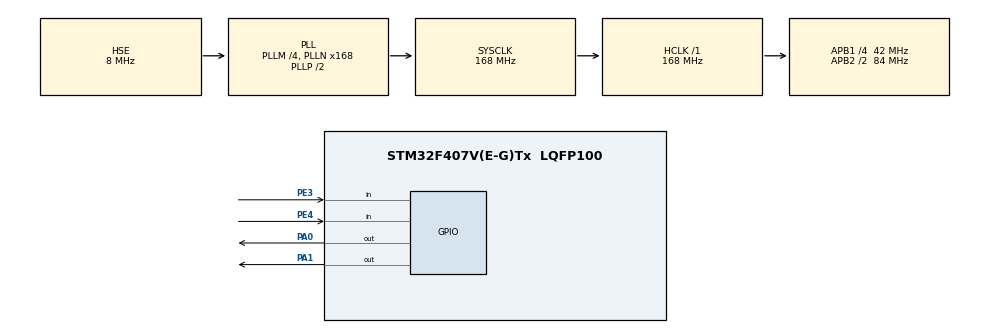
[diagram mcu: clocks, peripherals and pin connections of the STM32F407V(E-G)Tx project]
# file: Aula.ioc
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Mcu.Family=STM32F4
Mcu.Name=STM32F407V(E-G)Tx
Mcu.Package=LQFP100
NVIC.PriorityGroup=NVIC_PRIORITYGROUP_4
PA0-WKUP.Signal=GPIO_Output
PA1.Signal=GPIO_Output
PE3.GPIO_PuPd=GPIO_PULLUP
PE3.Signal=GPIO_Input
PE4.GPIO_PuPd=GPIO_PULLUP
PE4.Signal=GPIO_Input
PH0-OSC_IN.Mode=HSE-External-Oscillator
PH0-OSC_IN.Signal=RCC_OSC_IN
PH1-OSC_OUT.Mode=HSE-External-Oscillator
PH1-OSC_OUT.Signal=RCC_OSC_OUT
ProjectManager.HeapSize=0x200
ProjectManager.StackSize=0x400
ProjectManager.TargetToolchain=STM32CubeIDE
RCC.48MHZClocksFreq_Value=84000000
RCC.AHBFreq_Value=168000000
RCC.APB1CLKDivider=RCC_HCLK_DIV4
RCC.APB1Freq_Value=42000000
RCC.APB1TimFreq_Value=84000000
RCC.APB2CLKDivider=RCC_HCLK_DIV2
RCC.APB2Freq_Value=84000000
RCC.APB2TimFreq_Value=168000000
RCC.CortexFreq_Value=168000000
RCC.HCLKFreq_Value=168000000
RCC.HSE_VALUE=8000000
RCC.HSI_VALUE=16000000
RCC.LSE_VALUE=32768
RCC.PLLM=4
RCC.PLLN=168
RCC.PLLSourceVirtual=RCC_PLLSOURCE_HSE
RCC.SYSCLKFreq_VALUE=168000000
RCC.SYSCLKSource=RCC_SYSCLKSOURCE_PLLCLK
RCC.VCOOutputFreq_Value=336000000
board=custom

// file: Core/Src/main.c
/* USER CODE BEGIN Header */
/**
  ******************************************************************************
  * @file           : main.c
  * @brief          : Main program body
  ******************************************************************************
  * @attention
  *
  * Copyright (c) 2025 STMicroelectronics.
  * All rights reserved.
  *
  * This software is licensed under terms that can be found in the LICENSE file
  * in the root directory of this software component.
  * If no LICENSE file comes with this software, it is provided AS-IS.
  *
  ******************************************************************************
  */
/* USER CODE END Header */
#include "main.h"

/* USER CODE BEGIN Includes */

#include "Utility.h"
#include "LCD_Blio.h"
#include "audio_data.h"  // Arquivo gerado com os dados de voz
#include <stdio.h>
/* USER CODE END Includes */

void SystemClock_Config(void);
static void MX_GPIO_Init(void);
/* USER CODE BEGIN PFP */

// VARIÁVEIS GLOBAIS
uint16_t contador = 0;
float temperatura = 0;

uint16_t contadorBuzzer = 0;
int superaquecimento = 0;

void SinalSenoidal();
void WatchDogAnalogico();
void JoystickComServo();
void AmplificadorDeAudio();
void SensorDeTemperatura();

void Semaforo();
void InverterLedReg();
void Despertador(GPIO_TypeDef* porta, uint16_t pino);
void AtivarModoPWM(GPIO_TypeDef* porta, uint16_t pino, int velocidade);
void LedEBotao();
void LedEBotaoDec();
void AlternarLedBotao();
void LedBotaoContador();
void ContagemBinaria(int contador);

void DisplaySeteSegHexa();
void DisplaySeteSegHexa2D();
void Genius();
void SensorUltrassonico();
void MotorDC();
void MicroServomotor(int angulo, uint8_t pin);

/* USER CODE END PFP */

volatile uint32_t audio_index = 0;

void TIM3_IRQHandler(void)
{
    if (TIM3->SR & TIM_SR_UIF) // Verifica flag de atualização
    {
        TIM3->SR &= ~TIM_SR_UIF; // Limpa flag

        if (audio_index < audio_data_len)
        {
            DAC_SetValue(DAC_CHANNEL1, audio_data[audio_index++], DAC_RES_8BITS);
        }
        else
        {
            audio_index = 0; // Repetir
        }
    }
}

void Timer3_Init_48kHz(void)
{
    RCC->APB1ENR |= RCC_APB1ENR_TIM3EN; // Habilita clock do TIM3

    TIM3->PSC = 34;  // Prescaler (APB1 = 84 MHz / (34+1) = 2.4 MHz)
    TIM3->ARR = 49;  // 2.4 MHz / (49+1) = 48 kHz
    TIM3->DIER |= TIM_DIER_UIE; // Habilita interrupção de atualização
    TIM3->CR1 |= TIM_CR1_CEN;   // Liga o timer

    NVIC_EnableIRQ(TIM3_IRQn);  // Ativa interrupção no NVIC
    NVIC_SetPriority(TIM3_IRQn, 1);
}

int main(void)
{

  /* MCU Configuration--------------------------------------------------------*/

  /* Reset of all peripherals, Initializes the Flash interface and the Systick. */
  HAL_Init();

  /* Configure the system clock */
  SystemClock_Config();

  /* USER CODE BEGIN SysInit */

  // HAL_SYSTICK_Config(SystemCoreClock / 5);
  // HAL_SYSTICK_Config(SystemCoreClock / 5);

  /* USER CODE END SysInit */

  /* Initialize all configured peripherals */
  MX_GPIO_Init();
  /* USER CODE BEGIN 2 */

  Utility_Init();
  USART1_Init();

//  GPIO_Clock_Enable(GPIOA);

//	GPIO_Pin_Mode(GPIOA, PIN_4, ANALOG);
//	GPIO_Pin_Mode(GPIOA, PIN_5, ANALOG);
//
//	ADC_Init(ADC1, SINGLE_CHANNEL, DAC_RES_12BITS);
//	ADC_SingleChannel(ADC1, ADC_IN0);
//
//	DAC_Init(DAC_CHANNEL1);
//	DAC_Init(DAC_CHANNEL2);

//	DAC_Init1(DAC_CHANNEL2);

//	GPIO_Clock_Enable(GPIOE);
//
//	GPIO_Pin_Mode(GPIOE, PIN_3, INPUT);
//	GPIO_Pin_Mode(GPIOE, PIN_4, INPUT);
//
//	GPIO_Resistor_Enable(GPIOE, PIN_3, PULL_UP);
//	GPIO_Resistor_Enable(GPIOE, PIN_4, PULL_UP);
//
//	EXTI_Config(EXTI3, GPIOE, FALLING_EDGE);
//	EXTI_Config(EXTI4, GPIOE, FALLING_EDGE);
//
//	NVIC_EnableIRQ(EXTI3_IRQn);
//	NVIC_EnableIRQ(EXTI4_IRQn);
//
//	NVIC_SetPriority(EXTI3_IRQn, 0);
//	NVIC_SetPriority(EXTI4_IRQn, 1);

  /* USER CODE END 2 */

  /* Infinite loop */
  /* USER CODE BEGIN WHILE */

//	Utility_Init();
//	USART1_Init();
//	GPIO_Clock_Enable(GPIOA);
//	GPIO_Pin_Mode(GPIOA, PIN_6, OUTPUT);	// Led 1
//	GPIO_Pin_Mode(GPIOA, PIN_7, OUTPUT);	// Led 2
//	GPIO_Pin_Mode(GPIOA, PIN_0, OUTPUT);	// Buzzer
//
//	// ADC
//	RCC->APB2ENR |= 1 << 8; //liga o clock da interface digital do ADC1
//	ADC->CCR |= 0b01 << 16; //prescaler /4
//	ADC1->SQR1 &= ~(0xF << 20); //conversão de apenas um canal
//	ADC1->SQR3 |= 16; //seleção do canal a ser convertido (IN_16)
//	ADC1->SMPR1 |= (7 << 18); //tempo de amostragem igual a 480 ciclos de ADCCLK
//	ADC->CCR |= (1 << 23); //liga o sensor de temperatura
//	ADC1->CR2 |= 1; //liga o conversor AD

//	// Configurando TIMER 5
//	RCC->APB1ENR |= RCC_APB1ENR_TIM5EN;
//	TIM5->PSC = 8400 - 1;
//	TIM5->ARR = 200 - 1;
//	TIM5->EGR |= TIM_EGR_UG;
//	TIM5->CR1 &= ~TIM_CR1_DIR;
//	TIM5->DIER |= TIM_DIER_UIE;
//	NVIC_EnableIRQ(TIM5_IRQn);
//	TIM5->CR1 |= TIM_CR1_CEN;

  printf("Iniciando reprodução de áudio...\n");

  DAC_Init(DAC_CHANNEL1); // Inicializa canal 1 do DAC

  Timer3_Init_48kHz(); // Timer para gerar amostragem de 48 kHz

  while (1)
  {
      // Tudo é controlado pela interrupção do Timer3

		// SinalSenoidal();
		// WatchDogAnalogico();
		// JoystickComServo();

		// SensorDeTemperatura();

    /* USER CODE END WHILE */

	}
}

void SystemClock_Config(void)
{
  RCC_OscInitTypeDef RCC_OscInitStruct = {0};
  RCC_ClkInitTypeDef RCC_ClkInitStruct = {0};

  /** Configure the main internal regulator output voltage
  */
  __HAL_RCC_PWR_CLK_ENABLE();
  __HAL_PWR_VOLTAGESCALING_CONFIG(PWR_REGULATOR_VOLTAGE_SCALE1);

  /** Initializes the RCC Oscillators according to the specified parameters
  * in the RCC_OscInitTypeDef structure.
  */
  RCC_OscInitStruct.OscillatorType = RCC_OSCILLATORTYPE_HSE;
  RCC_OscInitStruct.HSEState = RCC_HSE_ON;
  RCC_OscInitStruct.PLL.PLLState = RCC_PLL_ON;
  RCC_OscInitStruct.PLL.PLLSource = RCC_PLLSOURCE_HSE;
  RCC_OscInitStruct.PLL.PLLM = 4;
  RCC_OscInitStruct.PLL.PLLN = 168;
  RCC_OscInitStruct.PLL.PLLP = RCC_PLLP_DIV2;
  RCC_OscInitStruct.PLL.PLLQ = 4;
  if (HAL_RCC_OscConfig(&RCC_OscInitStruct) != HAL_OK)
  {
    Error_Handler();
  }

  /** Initializes the CPU, AHB and APB buses clocks
  */
  RCC_ClkInitStruct.ClockType = RCC_CLOCKTYPE_HCLK|RCC_CLOCKTYPE_SYSCLK
                              |RCC_CLOCKTYPE_PCLK1|RCC_CLOCKTYPE_PCLK2;
  RCC_ClkInitStruct.SYSCLKSource = RCC_SYSCLKSOURCE_PLLCLK;
  RCC_ClkInitStruct.AHBCLKDivider = RCC_SYSCLK_DIV1;
  RCC_ClkInitStruct.APB1CLKDivider = RCC_HCLK_DIV4;
  RCC_ClkInitStruct.APB2CLKDivider = RCC_HCLK_DIV2;

  if (HAL_RCC_ClockConfig(&RCC_ClkInitStruct, FLASH_LATENCY_5) != HAL_OK)
  {
    Error_Handler();
  }
}

static void MX_GPIO_Init(void)
{
  GPIO_InitTypeDef GPIO_InitStruct = {0};

  /* GPIO Ports Clock Enable */
  __HAL_RCC_GPIOE_CLK_ENABLE();
  __HAL_RCC_GPIOH_CLK_ENABLE();
  __HAL_RCC_GPIOA_CLK_ENABLE();

  /*Configure GPIO pin Output Level */
  HAL_GPIO_WritePin(GPIOA, GPIO_PIN_0|GPIO_PIN_1, GPIO_PIN_RESET);

  /*Configure GPIO pins : PE3 PE4 */
  GPIO_InitStruct.Pin = GPIO_PIN_3|GPIO_PIN_4;
  GPIO_InitStruct.Mode = GPIO_MODE_INPUT;
  GPIO_InitStruct.Pull = GPIO_PULLUP;
  HAL_GPIO_Init(GPIOE, &GPIO_InitStruct);

  /*Configure GPIO pins : PA0 PA1 */
  GPIO_InitStruct.Pin = GPIO_PIN_0|GPIO_PIN_1;
  GPIO_InitStruct.Mode = GPIO_MODE_OUTPUT_PP;
  GPIO_InitStruct.Pull = GPIO_NOPULL;
  GPIO_InitStruct.Speed = GPIO_SPEED_FREQ_LOW;
  HAL_GPIO_Init(GPIOA, &GPIO_InitStruct);

}

/* USER CODE BEGIN 4 */

// INTERRUPÇÕES
void EXTI3_IRQHandler() {
	printf("Interrupção em K1\n");
	Delay_ms(2000);
	printf("Saindo de K1\n");
	EXTI_Clear_Pending(EXTI3);
}
void EXTI4_IRQHandler() {
	printf("Interrupção em K0\n");
	Delay_ms(2000);
	printf("Saindo de K0\n");
	EXTI_Clear_Pending(EXTI4);
}

void TIM5_IRQHandler() {

	uint32_t *p = (uint32_t *) 0x1FFF7A2C;
	uint32_t Word = *p;
	uint16_t TS_CAL1 = (Word & 0x0000FFFF);
	uint16_t TS_CAL2 = (Word & 0xFFFF0000) >> 16;

	ADC1->CR2 |= ADC_CR2_SWSTART;
	while(!(ADC1->SR & ADC_SR_EOC));
	temperatura += ((80*(float) (ADC1->DR - TS_CAL1))/(TS_CAL2-TS_CAL1))+30;

	if(contadorBuzzer < 25 && superaquecimento) {
		GPIO_Write_Pin(GPIOA, PIN_0, HIGH);
		contadorBuzzer++;
	} else {
		GPIO_Write_Pin(GPIOA, PIN_0, LOW);
		contadorBuzzer = 0;
		superaquecimento = 0;
	}

	contador++;
	if(contador >= 49) {
		temperatura = temperatura / 50;

		printf("Temperatura: %.2f\n", temperatura);
		contador = 0;
		if(temperatura <= 50) {
			GPIO_Write_Pin(GPIOA, PIN_6, HIGH);
			GPIO_Write_Pin(GPIOA, PIN_7, HIGH);
			printf("Dentro da faixa segura!\n\n");
		} else if(temperatura > 60) {
			superaquecimento = 1;
			GPIO_Write_Pin(GPIOA, PIN_6, LOW);
			GPIO_Write_Pin(GPIOA, PIN_7, LOW);
			printf("Fora da faixa segura! Superaquecimento!\n\n");
		} else {
			GPIO_Write_Pin(GPIOA, PIN_6, LOW);
			GPIO_Write_Pin(GPIOA, PIN_7, HIGH);
			printf("Dentro da faixa de atenção!\n\n");
		}
	}

	TIM5->SR &= ~TIM_SR_UIF;	// Limpando flag
}

// QUESTÕES DA ÚLTIMA UNIDADE
void SinalSenoidal() {
	Utility_Init();
	GPIO_Clock_Enable(GPIOA);

	GPIO_Pin_Mode(GPIOA, PIN_5, ANALOG);
	DAC_Init1(DAC_CHANNEL2);

	const uint16_t valores[500] = {	// Valores da senoide
			1860, 1875, 1891, 1906, 1922, 1937, 1953, 1968, 1984, 1999,
			2015, 2030, 2046, 2061, 2077, 2092, 2107, 2122, 2138, 2153,
			2168, 2183, 2198, 2213, 2228, 2243, 2257, 2272, 2287, 2301,
			2316, 2330, 2345, 2359, 2373, 2387, 2402, 2415, 2429, 2443,
			2457, 2470, 2484, 2497, 2511, 2524, 2537, 2550, 2563, 2576,
			2588, 2601, 2613, 2626, 2638, 2650, 2662, 2674, 2685, 2697,
			2708, 2720, 2731, 2742, 2753, 2763, 2774, 2784, 2795, 2805,
			2815, 2825, 2834, 2844, 2853, 2863, 2872, 2881, 2889, 2898,
			2906, 2915, 2923, 2931, 2939, 2946, 2954, 2961, 2968, 2975,
			2981, 2988, 2994, 3001, 3007, 3012, 3018, 3024, 3029, 3034,
			3039, 3044, 3048, 3052, 3057, 3061, 3064, 3068, 3071, 3075,
			3078, 3080, 3083, 3085, 3088, 3090, 3092, 3093, 3095, 3096,
			3097, 3098, 3099, 3099, 3099, 3100, 3099, 3099, 3099, 3098,
			3097, 3096, 3095, 3093, 3092, 3090, 3088, 3085, 3083, 3080,
			3078, 3075, 3071, 3068, 3064, 3061, 3057, 3052, 3048, 3044,
			3039, 3034, 3029, 3024, 3018, 3012, 3007, 3001, 2994, 2988,
			2981, 2975, 2968, 2961, 2954, 2946, 2939, 2931, 2923, 2915,
			2906, 2898, 2889, 2881, 2872, 2863, 2853, 2844, 2834, 2825,
			2815, 2805, 2795, 2784, 2774, 2763, 2753, 2742, 2731, 2720,
			2708, 2697, 2685, 2674, 2662, 2650, 2638, 2626, 2613, 2601,
			2588, 2576, 2563, 2550, 2537, 2524, 2511, 2497, 2484, 2470,
			2457, 2443, 2429, 2415, 2402, 2387, 2373, 2359, 2345, 2330,
			2316, 2301, 2287, 2272, 2257, 2243, 2228, 2213, 2198, 2183,
			2168, 2153, 2138, 2122, 2107, 2092, 2077, 2061, 2046, 2030,
			2015, 1999, 1984, 1968, 1953, 1937, 1922, 1906, 1891, 1875,
			1860, 1844, 1828, 1813, 1797, 1782, 1766, 1751, 1735, 1720,
			1704, 1689, 1673, 1658, 1642, 1627, 1612, 1597, 1581, 1566,
			1551, 1536, 1521, 1506, 1491, 1476, 1462, 1447, 1432, 1418,
			1403, 1389, 1374, 1360, 1346, 1332, 1317, 1304, 1290, 1276,
			1262, 1249, 1235, 1222, 1208, 1195, 1182, 1169, 1156, 1143,
			1131, 1118, 1106, 1093, 1081, 1069, 1057, 1045, 1034, 1022,
			1011, 999, 988, 977, 966, 956, 945, 935, 924, 914,
			904, 894, 885, 875, 866, 856, 847, 838, 830, 821,
			813, 804, 796, 788, 780, 773, 765, 758, 751, 744,
			738, 731, 725, 718, 712, 707, 701, 695, 690, 685,
			680, 675, 671, 667, 662, 658, 655, 651, 648, 644,
			641, 639, 636, 634, 631, 629, 627, 626, 624, 623,
			622, 621, 620, 620, 620, 620, 620, 620, 620, 621,
			622, 623, 624, 626, 627, 629, 631, 634, 636, 639,
			641, 644, 648, 651, 655, 658, 662, 667, 671, 675,
			680, 685, 690, 695, 701, 707, 712, 718, 725, 731,
			738, 744, 751, 758, 765, 773, 780, 788, 796, 804,
			813, 821, 830, 838, 847, 856, 866, 875, 885, 894,
			904, 914, 924, 935, 945, 956, 966, 977, 988, 999,
			1011, 1022, 1034, 1045, 1057, 1069, 1081, 1093, 1106, 1118,
			1131, 1143, 1156, 1169, 1182, 1195, 1208, 1222, 1235, 1249,
			1262, 1276, 1290, 1304, 1317, 1332, 1346, 1360, 1374, 1389,
			1403, 1418, 1432, 1447, 1462, 1476, 1491, 1506, 1521, 1536,
			1551, 1566, 1581, 1597, 1612, 1627, 1642, 1658, 1673, 1689,
			1704, 1720, 1735, 1751, 1766, 1782, 1797, 1813, 1828, 1844
	};

	while (1) {
		for(int i = 0; i < 500; i++) {
			DAC_SetValue(DAC_CHANNEL2, valores[i], DAC_RES_12BITS);
			Delay_us(4);
		}
	}
}
void WatchDogAnalogico() {
	Utility_Init();
	USART1_Init();

	ADC_Init(ADC1, SINGLE_CHANNEL, ADC_RES_12BITS);
	ADC_SingleChannel(ADC1, ADC_IN0);

	ADC1->LTR = 620;
	ADC1->HTR = 2482;
	ADC1->CR1 |= ADC_CR1_AWDSGL;
	ADC1->CR1 &= ~ADC_CR1_AWDCH;
	ADC1->CR1 |= ADC_CR1_AWDEN;

	while (1) {
		ADC1->CR2 |= ADC_CR2_SWSTART;
		while(!(ADC1->SR & ADC_SR_EOC));

		printf("Leitura: %.2f\n", ((float)ADC1->DR *3.3)/4095);

		if(ADC1->SR & ADC_SR_AWD){
			printf("Saida da regiao monitorada!\n");
		}

		ADC1->SR &= ~ADC_SR_AWD;
		Delay_ms(500);
	}
}
void JoystickComServo() {
	Utility_Init();

	ADC_Init(ADC1, SINGLE_CHANNEL, DAC_RES_12BITS);
	ADC_Init(ADC2, SINGLE_CHANNEL, DAC_RES_12BITS);
	ADC_SingleChannel(ADC1, ADC_IN0);
	ADC_SingleChannel(ADC2, ADC_IN1);

	GPIO_Pin_Mode(GPIOA, PIN_2, OUTPUT);
	GPIO_Pin_Mode(GPIOA, PIN_3, OUTPUT);

	uint16_t leituraX, leituraY;

	while(1) {
		leituraX = ADC_GetSingleConversion(ADC1);
		leituraY = ADC_GetSingleConversion(ADC2);

		MicroServomotor(((leituraX * 180) / 4095), PIN_2);
		MicroServomotor(((leituraY * 180) / 4095), PIN_3);
	}
}
void AmplificadorDeAudio() {
	Utility_Init();
	GPIO_Clock_Enable(GPIOA);

	GPIO_Pin_Mode(GPIOA, PIN_5, ANALOG);
	DAC_Init1(DAC_CHANNEL2);

	const uint16_t audio[500] = {	// Valores da frequência do áudio
			1860, 1875, 1891, 1906, 1922, 1937, 1953, 1968, 1984, 1999,
			2015, 2030, 2046, 2061, 2077, 2092, 2107, 2122, 2138, 2153,
			2168, 2183, 2198, 2213, 2228, 2243, 2257, 2272, 2287, 2301,
			2316, 2330, 2345, 2359, 2373, 2387, 2402, 2415, 2429, 2443,
			2457, 2470, 2484, 2497, 2511, 2524, 2537, 2550, 2563, 2576,
			2588, 2601, 2613, 2626, 2638, 2650, 2662, 2674, 2685, 2697,
			2708, 2720, 2731, 2742, 2753, 2763, 2774, 2784, 2795, 2805,
			2815, 2825, 2834, 2844, 2853, 2863, 2872, 2881, 2889, 2898,
			2906, 2915, 2923, 2931, 2939, 2946, 2954, 2961, 2968, 2975,
			2981, 2988, 2994, 3001, 3007, 3012, 3018, 3024, 3029, 3034,
			3039, 3044, 3048, 3052, 3057, 3061, 3064, 3068, 3071, 3075,
			3078, 3080, 3083, 3085, 3088, 3090, 3092, 3093, 3095, 3096,
			3097, 3098, 3099, 3099, 3099, 3100, 3099, 3099, 3099, 3098,
			3097, 3096, 3095, 3093, 3092, 3090, 3088, 3085, 3083, 3080,
			3078, 3075, 3071, 3068, 3064, 3061, 3057, 3052, 3048, 3044,
			3039, 3034, 3029, 3024, 3018, 3012, 3007, 3001, 2994, 2988,
			2981, 2975, 2968, 2961, 2954, 2946, 2939, 2931, 2923, 2915,
			2906, 2898, 2889, 2881, 2872, 2863, 2853, 2844, 2834, 2825,
			2815, 2805, 2795, 2784, 2774, 2763, 2753, 2742, 2731, 2720,
			2708, 2697, 2685, 2674, 2662, 2650, 2638, 2626, 2613, 2601,
			2588, 2576, 2563, 2550, 2537, 2524, 2511, 2497, 2484, 2470,
			2457, 2443, 2429, 2415, 2402, 2387, 2373, 2359, 2345, 2330,
			2316, 2301, 2287, 2272, 2257, 2243, 2228, 2213, 2198, 2183,
			2168, 2153, 2138, 2122, 2107, 2092, 2077, 2061, 2046, 2030,
			2015, 1999, 1984, 1968, 1953, 1937, 1922, 1906, 1891, 1875,
			1860, 1844, 1828, 1813, 1797, 1782, 1766, 1751, 1735, 1720,
			1704, 1689, 1673, 1658, 1642, 1627, 1612, 1597, 1581, 1566,
			1551, 1536, 1521, 1506, 1491, 1476, 1462, 1447, 1432, 1418,
			1403, 1389, 1374, 1360, 1346, 1332, 1317, 1304, 1290, 1276,
			1262, 1249, 1235, 1222, 1208, 1195, 1182, 1169, 1156, 1143,
			1131, 1118, 1106, 1093, 1081, 1069, 1057, 1045, 1034, 1022,
			1011, 999, 988, 977, 966, 956, 945, 935, 924, 914,
			904, 894, 885, 875, 866, 856, 847, 838, 830, 821,
			813, 804, 796, 788, 780, 773, 765, 758, 751, 744,
			738, 731, 725, 718, 712, 707, 701, 695, 690, 685,
			680, 675, 671, 667, 662, 658, 655, 651, 648, 644,
			641, 639, 636, 634, 631, 629, 627, 626, 624, 623,
			622, 621, 620, 620, 620, 620, 620, 620, 620, 621,
			622, 623, 624, 626, 627, 629, 631, 634, 636, 639,
			641, 644, 648, 651, 655, 658, 662, 667, 671, 675,
			680, 685, 690, 695, 701, 707, 712, 718, 725, 731,
			738, 744, 751, 758, 765, 773, 780, 788, 796, 804,
			813, 821, 830, 838, 847, 856, 866, 875, 885, 894,
			904, 914, 924, 935, 945, 956, 966, 977, 988, 999,
			1011, 1022, 1034, 1045, 1057, 1069, 1081, 1093, 1106, 1118,
			1131, 1143, 1156, 1169, 1182, 1195, 1208, 1222, 1235, 1249,
			1262, 1276, 1290, 1304, 1317, 1332, 1346, 1360, 1374, 1389,
			1403, 1418, 1432, 1447, 1462, 1476, 1491, 1506, 1521, 1536,
			1551, 1566, 1581, 1597, 1612, 1627, 1642, 1658, 1673, 1689,
			1704, 1720, 1735, 1751, 1766, 1782, 1797, 1813, 1828, 1844
	};

	while (1) {
		for(int i = 0; i < 500; i++) {
			DAC_SetValue(DAC_CHANNEL2, audio[i], DAC_RES_8BITS);
			Delay_us(4);
		}
	}
}

// QUESTÕES DA PRIMEIRA UNIDADE
void Semaforo() {
	  HAL_GPIO_TogglePin(GPIOA, GPIO_PIN_5);
	  HAL_Delay(4000);
	  HAL_GPIO_TogglePin(GPIOA, GPIO_PIN_5);

	  HAL_GPIO_TogglePin(GPIOA, GPIO_PIN_6);
	  HAL_Delay(2000);
	  HAL_GPIO_TogglePin(GPIOA, GPIO_PIN_6);

	  HAL_GPIO_TogglePin(GPIOA, GPIO_PIN_7);
	  HAL_Delay(4000);
	  HAL_GPIO_TogglePin(GPIOA, GPIO_PIN_7);
}
void InverterLedReg() {
	GPIOA->ODR ^= 0b11 << 6;
}
void Despertador(GPIO_TypeDef* porta, uint16_t pino) {
	 HAL_Delay(1000);
	 for(int i = 0; i < 4; i++){
		 HAL_GPIO_WritePin(porta, pino, GPIO_PIN_SET);
	 	 HAL_Delay(100);
	 	 HAL_GPIO_WritePin(porta, pino, GPIO_PIN_RESET);
	 	 HAL_Delay(100);
	 }
}
void AtivarModoPWM(GPIO_TypeDef* porta, uint16_t pino, int velocidade) {
	for(int i = 0; i < 2000; i += velocidade) {
		HAL_GPIO_WritePin(porta, pino, GPIO_PIN_RESET);
		Delay_us(1999 - i);
		HAL_GPIO_WritePin(porta, pino, GPIO_PIN_SET);
		Delay_us(i);
	}
	for(int i = 0; i < 2000; i += velocidade) {
		HAL_GPIO_WritePin(porta, pino, GPIO_PIN_RESET);
		Delay_us(i);
		HAL_GPIO_WritePin(porta, pino, GPIO_PIN_SET);
		Delay_us(1999 - i);
	}
}
void LedEBotao() {
	// Deve ativar os pinos PE3 (botão) e PA6 (led)
	if(!GPIO_Read_Pin(GPIOE, PIN_3)) {
		GPIO_Write_Pin(GPIOA, PIN_6, LOW);
	} else {
		GPIO_Write_Pin(GPIOA, PIN_6, HIGH);
	}

	// Deve ativar os pinos PE4 (botão) e PA7 (led)
	if(!GPIO_Read_Pin(GPIOE, PIN_4)) {
		GPIO_Write_Pin(GPIOA, PIN_7, LOW);
	} else {
		GPIO_Write_Pin(GPIOA, PIN_7, HIGH);
	}
}
void LedEBotaoDec(){
	int contador = 150;
	while(!HAL_GPIO_ReadPin(GPIOE, GPIO_PIN_3)) {
		HAL_GPIO_WritePin(GPIOA, GPIO_PIN_7, GPIO_PIN_RESET);
		HAL_Delay(contador);
		HAL_GPIO_WritePin(GPIOA, GPIO_PIN_7, GPIO_PIN_SET);
		HAL_Delay(contador);

		if(contador > 0)
			contador--;
	}

	HAL_GPIO_WritePin(GPIOA, GPIO_PIN_7, GPIO_PIN_SET);
}
void AlternarLedBotao() {
	GPIO_Write_Pin(GPIOA, PIN_6, HIGH);
	GPIO_Write_Pin(GPIOA, PIN_7, HIGH);

	while(!GPIO_Read_Pin(GPIOE, PIN_3)) {
		GPIO_Toggle_Pin(GPIOA, PIN_6);
		HAL_Delay(100);
		GPIO_Toggle_Pin(GPIOA, PIN_7);
	}
}
void LedBotaoContador() {
	// Precisa ativar os pinos PA6 e PE4
	GPIO_Write_Pin(GPIOA, PIN_6, HIGH);
	int contador = 0;

	while(!GPIO_Read_Pin(GPIOE, PIN_4)) {
		Delay_ms(1);
		contador += 1;
	}

	if(contador > 0){
		GPIO_Write_Pin(GPIOA, PIN_6, LOW);
		Delay_ms(contador);
		contador = 0;

		GPIO_Write_Pin(GPIOA, PIN_6, HIGH);
	}
}
void ContagemBinaria(int contador) {
	if(contador == 0) {
		GPIO_Write_Pin(GPIOA, PIN_6, HIGH);
		GPIO_Write_Pin(GPIOA, PIN_7, HIGH);
	} else if (contador == 1) {
		GPIO_Write_Pin(GPIOA, PIN_6, HIGH);
		GPIO_Write_Pin(GPIOA, PIN_7, LOW);
	} else if (contador == 2) {
		GPIO_Write_Pin(GPIOA, PIN_6, LOW);
		GPIO_Write_Pin(GPIOA, PIN_7, HIGH);
	} else {
		GPIO_Write_Pin(GPIOA, PIN_6, LOW);
		GPIO_Write_Pin(GPIOA, PIN_7, LOW);
	}
}
void DisplaySeteSegHexa() {

	Utility_Init();
	GPIO_Clock_Enable(GPIOE);

	GPIO_Pin_Mode(GPIOE, PIN_0, OUTPUT);	// LED A
	GPIO_Pin_Mode(GPIOE, PIN_1, OUTPUT);	// LED B
	GPIO_Pin_Mode(GPIOE, PIN_2, OUTPUT);	// LED C
	GPIO_Pin_Mode(GPIOE, PIN_3, OUTPUT);	// LED D
	GPIO_Pin_Mode(GPIOE, PIN_4, OUTPUT);	// LED E
	GPIO_Pin_Mode(GPIOE, PIN_5, OUTPUT);	// LED F
	GPIO_Pin_Mode(GPIOE, PIN_6, OUTPUT);	// LED G
	GPIO_Pin_Mode(GPIOE, PIN_7, OUTPUT);	// On/Off

	const uint8_t digitos[16] = {
	  0b00111111, // 0
	  0b00000110, // 1
	  0b01011011, // 2
	  0b01001111, // 3
	  0b01100110, // 4
	  0b01101101, // 5
	  0b01111101, // 6
	  0b00000111, // 7
	  0b01111111, // 8
	  0b01101111, // 9
	  0b01110111, // A
	  0b01111100, // b
	  0b00111001, // C
	  0b01011110, // d
	  0b01111001, // E
	  0b01110001  // F
	};

	while(1) {
		HAL_GPIO_WritePin(GPIOE, GPIO_PIN_7, GPIO_PIN_RESET);
		for(int i = 0; i < 16; i++) {
			GPIOE->ODR = digitos[i];
			Delay_ms(500);
		}
	}
}
void DisplaySeteSegHexa2D() {

	Utility_Init();
	GPIO_Clock_Enable(GPIOE);

	GPIO_Pin_Mode(GPIOE, PIN_0, OUTPUT);	// LED A
	GPIO_Pin_Mode(GPIOE, PIN_1, OUTPUT);	// LED B
	GPIO_Pin_Mode(GPIOE, PIN_2, OUTPUT);	// LED C
	GPIO_Pin_Mode(GPIOE, PIN_3, OUTPUT);	// LED D
	GPIO_Pin_Mode(GPIOE, PIN_4, OUTPUT);	// LED E
	GPIO_Pin_Mode(GPIOE, PIN_5, OUTPUT);	// LED F
	GPIO_Pin_Mode(GPIOE, PIN_6, OUTPUT);	// LED G
	GPIO_Pin_Mode(GPIOE, PIN_7, OUTPUT);	// On/Off Digito 1
	GPIO_Pin_Mode(GPIOE, PIN_8, OUTPUT);	// On/Off Digito 2

	const uint8_t digitos[16] = {
	  0b00111111, // 0
	  0b00000110, // 1
	  0b01011011, // 2
	  0b01001111, // 3
	  0b01100110, // 4
	  0b01101101, // 5
	  0b01111101, // 6
	  0b00000111, // 7
	  0b01111111, // 8
	  0b01101111, // 9
	  0b01110111, // A
	  0b01111100, // b
	  0b00111001, // C
	  0b01011110, // d
	  0b01111001, // E
	  0b01110001  // F
	};

	while(1) {

		for(int i = 0; i < 16; i++) {
			for(int j = 0; j < 16; j++) {
				int contador = 0;
				while(contador < 50) {
					GPIOE->ODR = digitos[i];
					HAL_GPIO_WritePin(GPIOE, GPIO_PIN_7, GPIO_PIN_RESET);
					HAL_GPIO_WritePin(GPIOE, GPIO_PIN_8, GPIO_PIN_SET);
					Delay_ms(1);

					GPIOE->ODR = digitos[j];
					HAL_GPIO_WritePin(GPIOE, GPIO_PIN_7, GPIO_PIN_SET);
					HAL_GPIO_WritePin(GPIOE, GPIO_PIN_8, GPIO_PIN_RESET);
					Delay_ms(1);

					contador++;
				}
			}
		}
		for(int i = 15; i >= 0; i--) {
			for(int j = 15; j >= 0; j--) {
				int contador = 0;
				while(contador < 50) {
					GPIOE->ODR = digitos[i];
					HAL_GPIO_WritePin(GPIOE, GPIO_PIN_7, GPIO_PIN_RESET);
					HAL_GPIO_WritePin(GPIOE, GPIO_PIN_8, GPIO_PIN_SET);
					Delay_ms(1);

					GPIOE->ODR = digitos[j];
					HAL_GPIO_WritePin(GPIOE, GPIO_PIN_7, GPIO_PIN_SET);
					HAL_GPIO_WritePin(GPIOE, GPIO_PIN_8, GPIO_PIN_RESET);
					Delay_ms(1);

					contador++;

				}
			}
		}
	}
}
void Genius() {
	GPIO_Clock_Enable(GPIOE);

	// botões
	GPIO_Pin_Mode(GPIOE, PIN_0, INPUT);
	GPIO_Pin_Mode(GPIOE, PIN_1, INPUT);
	GPIO_Pin_Mode(GPIOE, PIN_2, INPUT);
	GPIO_Pin_Mode(GPIOE, PIN_3, INPUT);

	GPIO_Resistor_Enable(GPIOE, PIN_0, PULL_UP);
	GPIO_Resistor_Enable(GPIOE, PIN_1, PULL_UP);
	GPIO_Resistor_Enable(GPIOE, PIN_2, PULL_UP);
	GPIO_Resistor_Enable(GPIOE, PIN_3, PULL_UP);

	// leds
	GPIO_Pin_Mode(GPIOE, PIN_4, OUTPUT);
	GPIO_Pin_Mode(GPIOE, PIN_5, OUTPUT);
	GPIO_Pin_Mode(GPIOE, PIN_6, OUTPUT);
	GPIO_Pin_Mode(GPIOE, PIN_7, OUTPUT);

	int tamanho = 0;
	int entrada = 0;
	uint16_t sequencia[20];
	uint16_t numero;

	while (1) {

		for(int i = 0; i < 4; i++) {
			GPIO_Write_Pin(GPIOE, PIN_4, HIGH);
			GPIO_Write_Pin(GPIOE, PIN_5, HIGH);
			GPIO_Write_Pin(GPIOE, PIN_6, LOW);
			GPIO_Write_Pin(GPIOE, PIN_7, LOW);
			Delay_ms(150);
			GPIO_Write_Pin(GPIOE, PIN_4, LOW);
			GPIO_Write_Pin(GPIOE, PIN_5, LOW);
			GPIO_Write_Pin(GPIOE, PIN_6, HIGH);
			GPIO_Write_Pin(GPIOE, PIN_7, HIGH);
			Delay_ms(150);
		}
		GPIO_Write_Pin(GPIOE, PIN_6, LOW);
		GPIO_Write_Pin(GPIOE, PIN_7, LOW);

		Delay_ms(1000);

		do {
		    numero = Random_Number();
		} while (numero != PIN_4 &&
		         numero != PIN_5 &&
		         numero != PIN_6 &&
		         numero != PIN_7);
		sequencia[tamanho] = numero;
		tamanho++;

		for(int i = 0; i < tamanho; i++) {
			Delay_ms(350);
			GPIO_Write_Pin(GPIOE, sequencia[i], HIGH);
			Delay_ms(350);
			GPIO_Write_Pin(GPIOE, sequencia[i], LOW);
		}

		while(1) {

			// Chegou ao fim
			if(entrada == tamanho) {
				entrada = 0;
				break;
			}

			if(!GPIO_Read_Pin(GPIOE, PIN_0)) {
				GPIO_Write_Pin(GPIOE, PIN_4, HIGH);
				Delay_ms(300);
				GPIO_Write_Pin(GPIOE, PIN_4, LOW);

					entrada = tamanho = 0;
				} else {
					entrada++;
				}
			}

			if(!GPIO_Read_Pin(GPIOE, PIN_1)) {
				GPIO_Write_Pin(GPIOE, PIN_5, HIGH);
				Delay_ms(300);
				GPIO_Write_Pin(GPIOE, PIN_5, LOW);
				if(sequencia[entrada] != PIN_5) {
					for(int i = 0; i < 6; i++) {
						HAL_GPIO_TogglePin(GPIOE, GPIO_PIN_4);
						HAL_GPIO_TogglePin(GPIOE, GPIO_PIN_5);
						HAL_GPIO_TogglePin(GPIOE, GPIO_PIN_6);
						HAL_GPIO_TogglePin(GPIOE, GPIO_PIN_7);
						Delay_ms(500);
					}
					entrada = tamanho = 0;
				} else {
					entrada++;
				}
			}

			if(!GPIO_Read_Pin(GPIOE, PIN_2)) {
				GPIO_Write_Pin(GPIOE, PIN_6, HIGH);
				Delay_ms(300);
				GPIO_Write_Pin(GPIOE, PIN_6, LOW);
				if(sequencia[entrada] != PIN_6) {
					for(int i = 0; i < 6; i++) {
						HAL_GPIO_TogglePin(GPIOE, GPIO_PIN_4);
						HAL_GPIO_TogglePin(GPIOE, GPIO_PIN_5);
						HAL_GPIO_TogglePin(GPIOE, GPIO_PIN_6);
						HAL_GPIO_TogglePin(GPIOE, GPIO_PIN_7);
						Delay_ms(500);
					}
					entrada = tamanho = 0;
				} else {
					entrada++;
				}
			}

			if(!GPIO_Read_Pin(GPIOE, PIN_3)) {
				GPIO_Write_Pin(GPIOE, PIN_7, HIGH);
				Delay_ms(300);
				GPIO_Write_Pin(GPIOE, PIN_7, LOW);
				if(sequencia[entrada] != PIN_7) {
					for(int i = 0; i < 6; i++) {
						HAL_GPIO_TogglePin(GPIOE, GPIO_PIN_4);
						HAL_GPIO_TogglePin(GPIOE, GPIO_PIN_5);
						HAL_GPIO_TogglePin(GPIOE, GPIO_PIN_6);
						HAL_GPIO_TogglePin(GPIOE, GPIO_PIN_7);
						Delay_ms(500);
					}
					entrada = tamanho = 0;
				} else {
					entrada++;
				}
			}
		}
	}
void SensorUltrassonico() {
	GPIO_Clock_Enable(GPIOE);
	GPIO_Pin_Mode(GPIOE, PIN_0, INPUT);		// ECHO
	GPIO_Pin_Mode(GPIOE, PIN_1, OUTPUT);	// TRIG
	GPIO_Write_Pin(GPIOE, PIN_1, LOW);
	GPIO_Pin_Mode(GPIOE, PIN_2, OUTPUT);	// BUZZER

	unsigned int distancia = 0;
	int tempo = 0;

	while (1) {

		// Enviando pulso
		Delay_ms(10);
		GPIO_Write_Pin(GPIOE, PIN_1, HIGH);
		Delay_us(10);
		GPIO_Write_Pin(GPIOE, PIN_1, LOW);

		// Iniciando contagem
		while(!GPIO_Read_Pin(GPIOE, PIN_0));
		tempo = 0;
		while(GPIO_Read_Pin(GPIOE, PIN_0)) {
			Delay_us(1);
			tempo++;
		}

		// Calculando distância
		distancia = tempo/58;

		// Acionando LED
		if(distancia > 50) {
			GPIO_Write_Pin(GPIOE, PIN_2, LOW);
		} else if(distancia > 40) {
			GPIO_Write_Pin(GPIOE, PIN_2, HIGH);
			Delay_ms(500);
			GPIO_Write_Pin(GPIOE, PIN_2, LOW);
			Delay_ms(500);
		} else if(distancia > 30) {
			GPIO_Write_Pin(GPIOE, PIN_2, HIGH);
			Delay_ms(300);
			GPIO_Write_Pin(GPIOE, PIN_2, LOW);
			Delay_ms(300);
		} else if(distancia > 20) {
			GPIO_Write_Pin(GPIOE, PIN_2, HIGH);
			Delay_ms(100);
			GPIO_Write_Pin(GPIOE, PIN_2, LOW);
			Delay_ms(100);
		} else if(distancia > 7) {
			GPIO_Write_Pin(GPIOE, PIN_2, HIGH);
			Delay_ms(50);
			GPIO_Write_Pin(GPIOE, PIN_2, LOW);
			Delay_ms(50);
		} else {
			GPIO_Write_Pin(GPIOE, PIN_2, HIGH);
		}
	}
}
void MotorDC() {
	GPIO_Clock_Enable(GPIOE);
	GPIO_Pin_Mode(GPIOE, PIN_0, OUTPUT);
	GPIO_Pin_Mode(GPIOE, PIN_1, OUTPUT);
	GPIO_Pin_Mode(GPIOE, PIN_2, OUTPUT);

	Delay_ms(1000);

	while (1) {
		// Mudando sentido e ativando PWM
		GPIO_Write_Pin(GPIOE, PIN_0, LOW);
		GPIO_Write_Pin(GPIOE, PIN_1, HIGH);
		AtivarModoPWM(GPIOE, GPIO_PIN_2, 2);

		// Mudando sentido e ativando PWM
		GPIO_Write_Pin(GPIOE, PIN_0, HIGH);
		GPIO_Write_Pin(GPIOE, PIN_1, LOW);
		AtivarModoPWM(GPIOE, GPIO_PIN_2, 2);
	}
}
void MicroServomotor(int angulo, uint8_t pin) {
	int pulso = 500 + (2000 * angulo) / 180;

	GPIO_Write_Pin(GPIOA, pin, HIGH);
	Delay_us(pulso);

	GPIO_Write_Pin(GPIOA, pin, LOW);
	Delay_us(20000 - pulso);
}

/* USER CODE END 4 */

void Error_Handler(void)
{
  __disable_irq();
  while (1)
  {
  }
}
